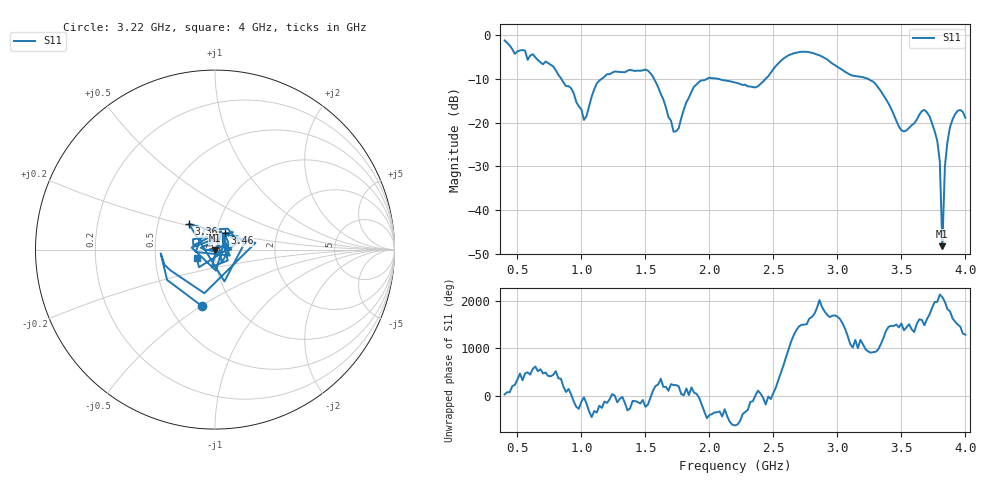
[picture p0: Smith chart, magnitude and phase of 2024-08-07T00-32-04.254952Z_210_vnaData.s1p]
!Created with skrf (http://scikit-rf.org).
# Hz S RI R 50.0
!freq ReS11 ImS11
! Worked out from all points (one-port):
!   181 points, 400 MHz to 4 GHz, reference 50 ohm
!   lowest |S11| = -48.3 dB at 3.82 GHz (marker M1), VSWR 1.01, Z = 50 - j0.383 ohm
!   |S11| at or under -10 dB: 1.568 GHz to 1.981 GHz (413 MHz wide, 23.3 % of centre); 2.069 GHz to 2.438 GHz (369 MHz wide, 16.4 % of centre); 3.239 GHz to end of sweep (the widest 3 of 4)
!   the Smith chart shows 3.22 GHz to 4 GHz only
!   S11 on the Smith chart (normalised r, x): 3.22 GHz: 0.72, -0.51; 3.36 GHz: 0.72, +0.22; 3.46 GHz: 1.09, +0.20; 4 GHz: 0.81, -0.08
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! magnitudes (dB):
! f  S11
! 400 MHz  -1.2
! 780 MHz  -7.2
! 860 MHz  -10.8
! 920 MHz  -12.2
! 1.02 GHz  -19.4
! 1.12 GHz  -11.0
! 1.3 GHz  -8.4
! 1.52 GHz  -8.1
! 1.72 GHz  -22.1
! 1.76 GHz  -21.3
! 1.82 GHz  -15.3
! 1.92 GHz  -10.7
! 2.2 GHz  -10.8
! 2.38 GHz  -11.7
! 2.66 GHz  -4.1
! 3.1 GHz  -9.1
! 3.22 GHz  -9.8
! 3.36 GHz  -13.8
! 3.46 GHz  -19.6
! 3.56 GHz  -21.2
! 3.68 GHz  -17.1
! 3.76 GHz  -22.0
! 3.8 GHz  -28.9
! 3.82 GHz  -48.3
! 3.84 GHz  -30.0
! 3.88 GHz  -21.0
! 3.94 GHz  -17.3
! 4 GHz  -18.9
